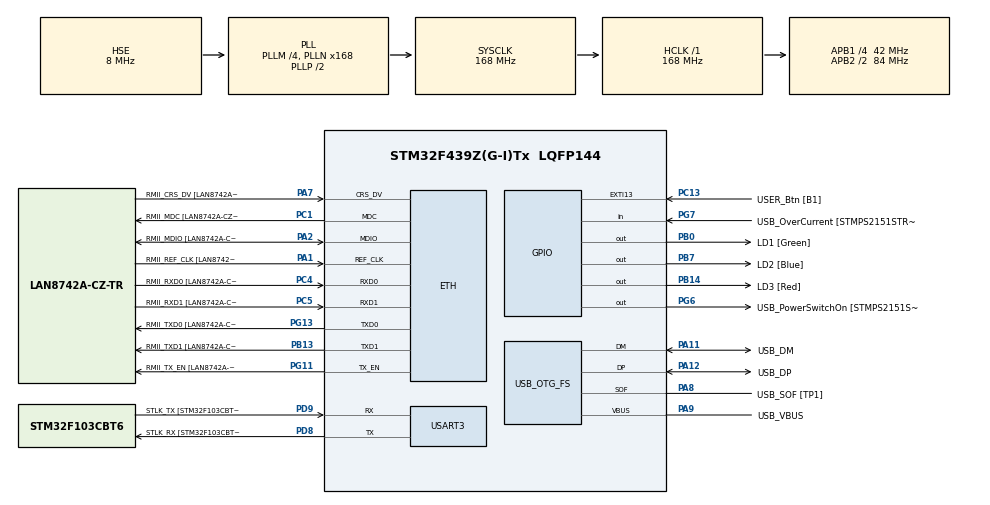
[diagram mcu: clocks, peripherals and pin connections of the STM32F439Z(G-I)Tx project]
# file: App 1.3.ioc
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ETH.MediaInterface=HAL_ETH_RMII_MODE
ETH.PHY_Name=LAN8742A_PHY_ADDRESS
ETH.PHY_Value=0
ETH.PhyAddress=0
Mcu.Family=STM32F4
Mcu.Name=STM32F439Z(G-I)Tx
Mcu.Package=LQFP144
NVIC.PriorityGroup=NVIC_PRIORITYGROUP_4
PA1.GPIO_Label=RMII_REF_CLK [LAN8742A-CZ-TR_REFCLK0]
PA1.Mode=RMII
PA1.Signal=ETH_REF_CLK
PA10.GPIO_Label=USB_ID
PA10.Signal=USB_OTG_FS_ID
PA11.GPIO_Label=USB_DM
PA11.Mode=Device_Only
PA11.Signal=USB_OTG_FS_DM
PA12.GPIO_Label=USB_DP
PA12.Mode=Device_Only
PA12.Signal=USB_OTG_FS_DP
PA13.GPIO_Label=TMS
PA13.Mode=Serial_Wire
PA13.Signal=SYS_JTMS-SWDIO
PA14.GPIO_Label=TCK
PA14.Mode=Serial_Wire
PA14.Signal=SYS_JTCK-SWCLK
PA2.GPIO_Label=RMII_MDIO [LAN8742A-CZ-TR_MDIO]
PA2.Mode=RMII
PA2.Signal=ETH_MDIO
PA7.GPIO_Label=RMII_CRS_DV [LAN8742A-CZ-TR_CRS_DV]
PA7.Mode=RMII
PA7.Signal=ETH_CRS_DV
PA8.GPIO_Label=USB_SOF [TP1]
PA8.Mode=Activate_SOF_FS
PA8.Signal=USB_OTG_FS_SOF
PA9.GPIO_Label=USB_VBUS
PA9.Mode=Activate_VBUS
PA9.Signal=USB_OTG_FS_VBUS
PB0.GPIO_Label=LD1 [Green]
PB0.Signal=GPIO_Output
PB13.GPIO_Label=RMII_TXD1 [LAN8742A-CZ-TR_TXD1]
PB13.Mode=RMII
PB13.Signal=ETH_TXD1
PB14.GPIO_Label=LD3 [Red]
PB14.Signal=GPIO_Output
PB7.GPIO_Label=LD2 [Blue]
PB7.Signal=GPIO_Output
PC1.GPIO_Label=RMII_MDC [LAN8742A-CZ-TR_MDC]
PC1.Mode=RMII
PC1.Signal=ETH_MDC
PC13.GPIO_Label=USER_Btn [B1]
PC13.Signal=GPXTI13
PC14/OSC32_IN.Mode=LSE-External-Oscillator
PC14/OSC32_IN.Signal=RCC_OSC32_IN
PC15/OSC32_OUT.Mode=LSE-External-Oscillator
PC15/OSC32_OUT.Signal=RCC_OSC32_OUT
PC4.GPIO_Label=RMII_RXD0 [LAN8742A-CZ-TR_RXD0]
PC4.Mode=RMII
PC4.Signal=ETH_RXD0
PC5.GPIO_Label=RMII_RXD1 [LAN8742A-CZ-TR_RXD1]
PC5.Mode=RMII
PC5.Signal=ETH_RXD1
PD8.GPIO_Label=STLK_RX [STM32F103CBT6_PA3]
PD8.Mode=Asynchronous
PD8.Signal=USART3_TX
PD9.GPIO_Label=STLK_TX [STM32F103CBT6_PA2]
PD9.Mode=Asynchronous
PD9.Signal=USART3_RX
PG11.GPIO_Label=RMII_TX_EN [LAN8742A-CZ-TR_TXEN]
PG11.Mode=RMII
PG11.Signal=ETH_TX_EN
PG13.GPIO_Label=RMII_TXD0 [LAN8742A-CZ-TR_TXD0]
PG13.Mode=RMII
PG13.Signal=ETH_TXD0
PG6.GPIO_Label=USB_PowerSwitchOn [STMPS2151STR_EN]
PG6.Signal=GPIO_Output
PG7.GPIO_Label=USB_OverCurrent [STMPS2151STR_FAULT]
PG7.Signal=GPIO_Input
PH0/OSC_IN.GPIO_Label=MCO [STM32F103CBT6_PA8]
PH0/OSC_IN.Mode=HSE-External-Clock-Source
PH0/OSC_IN.Signal=RCC_OSC_IN
PH1/OSC_OUT.Mode=HSE-External-Clock-Source
PH1/OSC_OUT.Signal=RCC_OSC_OUT
ProjectManager.HeapSize=0x200
ProjectManager.StackSize=0x400
ProjectManager.TargetToolchain=STM32CubeIDE
RCC.48MHZClocksFreq_Value=48000000
RCC.AHBFreq_Value=168000000
RCC.APB1CLKDivider=RCC_HCLK_DIV4
RCC.APB1Freq_Value=42000000
RCC.APB1TimFreq_Value=84000000
RCC.APB2CLKDivider=RCC_HCLK_DIV2
RCC.APB2Freq_Value=84000000
RCC.APB2TimCLKDivider=2
RCC.APB2TimFreq_Value=168000000
RCC.CortexFreq_Value=168000000
RCC.HCLKFreq_Value=168000000
RCC.HSE_VALUE=8000000
RCC.HSI_VALUE=16000000
RCC.PLLM=4
RCC.PLLMUL=RCC_PLL_MUL9
RCC.PLLN=168
RCC.PLLQ=7
RCC.PRESCALERUSB=RCC_USBCLKSOURCE_PLL_DIV1_5
RCC.SYSCLKFreq_VALUE=168000000
RCC.SYSCLKSource=RCC_SYSCLKSOURCE_PLLCLK
RCC.SYSCLKSourceVirtual=RCC_SYSCLKSOURCE_PLLCLK
RCC.USBFreq_Value=48000000
RCC.VCOOutputFreq_Value=336000000
USART3.VirtualMode=VM_ASYNC
USB_OTG_FS.VirtualMode=Device_Only
board=NUCLEO-F439ZI

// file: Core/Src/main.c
/* USER CODE BEGIN Header */
/**
  ******************************************************************************
  * @file           : main.c
  * @brief          : Main program body
  ******************************************************************************
  * @attention
  *
  * Copyright (c) 2026 STMicroelectronics.
  * All rights reserved.
  *
  * This software is licensed under terms that can be found in the LICENSE file
  * in the root directory of this software component.
  * If no LICENSE file comes with this software, it is provided AS-IS.
  *
  ******************************************************************************
  */
/* USER CODE END Header */
#include "main.h"
#include "string.h"

ETH_TxPacketConfig TxConfig;
ETH_DMADescTypeDef  DMARxDscrTab[ETH_RX_DESC_CNT]; /* Ethernet Rx DMA Descriptors */
ETH_DMADescTypeDef  DMATxDscrTab[ETH_TX_DESC_CNT]; /* Ethernet Tx DMA Descriptors */

ETH_HandleTypeDef heth;

UART_HandleTypeDef huart3;

PCD_HandleTypeDef hpcd_USB_OTG_FS;

void SystemClock_Config(void);
static void MX_GPIO_Init(void);
static void MX_ETH_Init(void);
static void MX_USART3_UART_Init(void);
static void MX_USB_OTG_FS_PCD_Init(void);

int main(void)
{
uint16_t LEDS[3] = {LD1_Pin, LD2_Pin,LD3_Pin};// Vector con los pines de los LEDs
uint16_t Pulsador;
uint8_t secuencia = 0;

  /* MCU Configuration--------------------------------------------------------*/

  /* Reset of all peripherals, Initializes the Flash interface and the Systick. */
  HAL_Init();

  /* Configure the system clock */
  SystemClock_Config();

  /* Initialize all configured peripherals */
  MX_GPIO_Init();
  MX_ETH_Init();
  MX_USART3_UART_Init();
  MX_USB_OTG_FS_PCD_Init();

  /* Infinite loop */
    /* USER CODE BEGIN WHILE */
    while (1)
    {
      // 1. LECTURA DEL PULSADOR
      if (HAL_GPIO_ReadPin(GPIOC, USER_Btn_Pin) == GPIO_PIN_SET)
      {
        HAL_Delay(30); // Anti-rebote simple
        if (HAL_GPIO_ReadPin(GPIOC, USER_Btn_Pin) == GPIO_PIN_SET)
        {
          secuencia++;
          if (secuencia > 3)
          {
            secuencia = 0;
          }

          // Apagar todos los LEDs antes de cambiar
          HAL_GPIO_WritePin(GPIOB, LEDS[0], GPIO_PIN_RESET);
          HAL_GPIO_WritePin(GPIOB, LEDS[1], GPIO_PIN_RESET);
          HAL_GPIO_WritePin(GPIOB, LEDS[2], GPIO_PIN_RESET);

          // Esperar a soltar el botón
          while (HAL_GPIO_ReadPin(GPIOC, USER_Btn_Pin) == GPIO_PIN_SET) {}
        }
      }

      // 2. SECUENCIAS

      // --- SECUENCIA 1: Alternancia de 150 ms en cascada ---
      if (secuencia == 0)
      {
        HAL_GPIO_WritePin(GPIOB, LEDS[0], GPIO_PIN_SET);
        HAL_Delay(150);
        HAL_GPIO_WritePin(GPIOB, LEDS[0], GPIO_PIN_RESET);
        HAL_Delay(150);

        HAL_GPIO_WritePin(GPIOB, LEDS[1], GPIO_PIN_SET);
        HAL_Delay(150);
        HAL_GPIO_WritePin(GPIOB, LEDS[1], GPIO_PIN_RESET);
        HAL_Delay(150);

        HAL_GPIO_WritePin(GPIOB, LEDS[2], GPIO_PIN_SET);
        HAL_Delay(150);
        HAL_GPIO_WritePin(GPIOB, LEDS[2], GPIO_PIN_RESET);
        HAL_Delay(150);
      }

      // --- SECUENCIA 2: Parpadeo simultáneo de 300 ms ---
      else if (secuencia == 1)
      {
        HAL_GPIO_WritePin(GPIOB, LEDS[0], GPIO_PIN_SET);
        HAL_GPIO_WritePin(GPIOB, LEDS[1], GPIO_PIN_SET);
        HAL_GPIO_WritePin(GPIOB, LEDS[2], GPIO_PIN_SET);
        HAL_Delay(300);

        HAL_GPIO_WritePin(GPIOB, LEDS[0], GPIO_PIN_RESET);
        HAL_GPIO_WritePin(GPIOB, LEDS[1], GPIO_PIN_RESET);
        HAL_GPIO_WritePin(GPIOB, LEDS[2], GPIO_PIN_RESET);
        HAL_Delay(300);
      }

      // --- SECUENCIA 3: Forma lineal y sencilla sin lógica compleja ---
      // Total del bloque: 600 ms
      else if (secuencia == 2)
      {
        // Paso 1 (0 ms): Cambian los tres
        HAL_GPIO_TogglePin(GPIOB, LEDS[0]);
        HAL_GPIO_TogglePin(GPIOB, LEDS[1]);
        HAL_GPIO_TogglePin(GPIOB, LEDS[2]);
        HAL_Delay(100);

        // Paso 2 (100 ms): Solo cambia LED1
        HAL_GPIO_TogglePin(GPIOB, LEDS[0]);
        HAL_Delay(100);

        // Paso 3 (200 ms): Solo cambia LED1
        HAL_GPIO_TogglePin(GPIOB, LEDS[0]);
        HAL_Delay(100);

        // Paso 4 (300 ms): Cambian LED1 y LED2
        HAL_GPIO_TogglePin(GPIOB, LEDS[0]);
        HAL_GPIO_TogglePin(GPIOB, LEDS[1]);
        HAL_Delay(100);

        // Paso 5 (400 ms): Solo cambia LED1
        HAL_GPIO_TogglePin(GPIOB, LEDS[0]);
        HAL_Delay(100);

        // Paso 6 (500 ms): Solo cambia LED1
        HAL_GPIO_TogglePin(GPIOB, LEDS[0]);
        HAL_Delay(100);
      }

      // --- SECUENCIA 4: Inversos de 150 ms ---
      else if (secuencia == 3)
      {
        HAL_GPIO_WritePin(GPIOB, LEDS[0], GPIO_PIN_SET);
        HAL_GPIO_WritePin(GPIOB, LEDS[2], GPIO_PIN_SET);
        HAL_GPIO_WritePin(GPIOB, LEDS[1], GPIO_PIN_RESET);
        HAL_Delay(150);

        HAL_GPIO_WritePin(GPIOB, LEDS[0], GPIO_PIN_RESET);
        HAL_GPIO_WritePin(GPIOB, LEDS[2], GPIO_PIN_RESET);
        HAL_GPIO_WritePin(GPIOB, LEDS[1], GPIO_PIN_SET);
        HAL_Delay(150);
      }

      /* USER CODE END WHILE */

    }
}

void SystemClock_Config(void)
{
  RCC_OscInitTypeDef RCC_OscInitStruct = {0};
  RCC_ClkInitTypeDef RCC_ClkInitStruct = {0};

  /** Configure the main internal regulator output voltage
  */
  __HAL_RCC_PWR_CLK_ENABLE();
  __HAL_PWR_VOLTAGESCALING_CONFIG(PWR_REGULATOR_VOLTAGE_SCALE1);

  /** Initializes the RCC Oscillators according to the specified parameters
  * in the RCC_OscInitTypeDef structure.
  */
  RCC_OscInitStruct.OscillatorType = RCC_OSCILLATORTYPE_HSE;
  RCC_OscInitStruct.HSEState = RCC_HSE_BYPASS;
  RCC_OscInitStruct.PLL.PLLState = RCC_PLL_ON;
  RCC_OscInitStruct.PLL.PLLSource = RCC_PLLSOURCE_HSE;
  RCC_OscInitStruct.PLL.PLLM = 4;
  RCC_OscInitStruct.PLL.PLLN = 168;
  RCC_OscInitStruct.PLL.PLLP = RCC_PLLP_DIV2;
  RCC_OscInitStruct.PLL.PLLQ = 7;
  if (HAL_RCC_OscConfig(&RCC_OscInitStruct) != HAL_OK)
  {
    Error_Handler();
  }

  /** Initializes the CPU, AHB and APB buses clocks
  */
  RCC_ClkInitStruct.ClockType = RCC_CLOCKTYPE_HCLK|RCC_CLOCKTYPE_SYSCLK
                              |RCC_CLOCKTYPE_PCLK1|RCC_CLOCKTYPE_PCLK2;
  RCC_ClkInitStruct.SYSCLKSource = RCC_SYSCLKSOURCE_PLLCLK;
  RCC_ClkInitStruct.AHBCLKDivider = RCC_SYSCLK_DIV1;
  RCC_ClkInitStruct.APB1CLKDivider = RCC_HCLK_DIV4;
  RCC_ClkInitStruct.APB2CLKDivider = RCC_HCLK_DIV2;

  if (HAL_RCC_ClockConfig(&RCC_ClkInitStruct, FLASH_LATENCY_5) != HAL_OK)
  {
    Error_Handler();
  }
}

static void MX_ETH_Init(void)
{

   static uint8_t MACAddr[6];

  heth.Instance = ETH;
  MACAddr[0] = 0x00;
  MACAddr[1] = 0x80;
  MACAddr[2] = 0xE1;
  MACAddr[3] = 0x00;
  MACAddr[4] = 0x00;
  MACAddr[5] = 0x00;
  heth.Init.MACAddr = &MACAddr[0];
  heth.Init.MediaInterface = HAL_ETH_RMII_MODE;
  heth.Init.TxDesc = DMATxDscrTab;
  heth.Init.RxDesc = DMARxDscrTab;
  heth.Init.RxBuffLen = 1524;

  if (HAL_ETH_Init(&heth) != HAL_OK)
  {
    Error_Handler();
  }

  memset(&TxConfig, 0 , sizeof(ETH_TxPacketConfig));
  TxConfig.Attributes = ETH_TX_PACKETS_FEATURES_CSUM | ETH_TX_PACKETS_FEATURES_CRCPAD;
  TxConfig.ChecksumCtrl = ETH_CHECKSUM_IPHDR_PAYLOAD_INSERT_PHDR_CALC;
  TxConfig.CRCPadCtrl = ETH_CRC_PAD_INSERT;

}

static void MX_USART3_UART_Init(void)
{

  huart3.Instance = USART3;
  huart3.Init.BaudRate = 115200;
  huart3.Init.WordLength = UART_WORDLENGTH_8B;
  huart3.Init.StopBits = UART_STOPBITS_1;
  huart3.Init.Parity = UART_PARITY_NONE;
  huart3.Init.Mode = UART_MODE_TX_RX;
  huart3.Init.HwFlowCtl = UART_HWCONTROL_NONE;
  huart3.Init.OverSampling = UART_OVERSAMPLING_16;
  if (HAL_UART_Init(&huart3) != HAL_OK)
  {
    Error_Handler();
  }

}

static void MX_USB_OTG_FS_PCD_Init(void)
{

  hpcd_USB_OTG_FS.Instance = USB_OTG_FS;
  hpcd_USB_OTG_FS.Init.dev_endpoints = 4;
  hpcd_USB_OTG_FS.Init.speed = PCD_SPEED_FULL;
  hpcd_USB_OTG_FS.Init.dma_enable = DISABLE;
  hpcd_USB_OTG_FS.Init.phy_itface = PCD_PHY_EMBEDDED;
  hpcd_USB_OTG_FS.Init.Sof_enable = ENABLE;
  hpcd_USB_OTG_FS.Init.low_power_enable = DISABLE;
  hpcd_USB_OTG_FS.Init.lpm_enable = DISABLE;
  hpcd_USB_OTG_FS.Init.vbus_sensing_enable = ENABLE;
  hpcd_USB_OTG_FS.Init.use_dedicated_ep1 = DISABLE;
  if (HAL_PCD_Init(&hpcd_USB_OTG_FS) != HAL_OK)
  {
    Error_Handler();
  }

}

static void MX_GPIO_Init(void)
{
  GPIO_InitTypeDef GPIO_InitStruct = {0};

  /* GPIO Ports Clock Enable */
  __HAL_RCC_GPIOC_CLK_ENABLE();
  __HAL_RCC_GPIOH_CLK_ENABLE();
  __HAL_RCC_GPIOA_CLK_ENABLE();
  __HAL_RCC_GPIOB_CLK_ENABLE();
  __HAL_RCC_GPIOD_CLK_ENABLE();
  __HAL_RCC_GPIOG_CLK_ENABLE();

  /*Configure GPIO pin Output Level */
  HAL_GPIO_WritePin(GPIOB, LD1_Pin|LD3_Pin|LD2_Pin, GPIO_PIN_RESET);

  /*Configure GPIO pin Output Level */
  HAL_GPIO_WritePin(USB_PowerSwitchOn_GPIO_Port, USB_PowerSwitchOn_Pin, GPIO_PIN_RESET);

  /*Configure GPIO pin : USER_Btn_Pin */
  GPIO_InitStruct.Pin = USER_Btn_Pin;
  GPIO_InitStruct.Mode = GPIO_MODE_IT_RISING;
  GPIO_InitStruct.Pull = GPIO_NOPULL;
  HAL_GPIO_Init(USER_Btn_GPIO_Port, &GPIO_InitStruct);

  /*Configure GPIO pins : LD1_Pin LD3_Pin LD2_Pin */
  GPIO_InitStruct.Pin = LD1_Pin|LD3_Pin|LD2_Pin;
  GPIO_InitStruct.Mode = GPIO_MODE_OUTPUT_PP;
  GPIO_InitStruct.Pull = GPIO_NOPULL;
  GPIO_InitStruct.Speed = GPIO_SPEED_FREQ_LOW;
  HAL_GPIO_Init(GPIOB, &GPIO_InitStruct);

  /*Configure GPIO pin : USB_PowerSwitchOn_Pin */
  GPIO_InitStruct.Pin = USB_PowerSwitchOn_Pin;
  GPIO_InitStruct.Mode = GPIO_MODE_OUTPUT_PP;
  GPIO_InitStruct.Pull = GPIO_NOPULL;
  GPIO_InitStruct.Speed = GPIO_SPEED_FREQ_LOW;
  HAL_GPIO_Init(USB_PowerSwitchOn_GPIO_Port, &GPIO_InitStruct);

  /*Configure GPIO pin : USB_OverCurrent_Pin */
  GPIO_InitStruct.Pin = USB_OverCurrent_Pin;
  GPIO_InitStruct.Mode = GPIO_MODE_INPUT;
  GPIO_InitStruct.Pull = GPIO_NOPULL;
  HAL_GPIO_Init(USB_OverCurrent_GPIO_Port, &GPIO_InitStruct);

}

void Error_Handler(void)
{
  __disable_irq();
  while (1)
  {
  }
}
